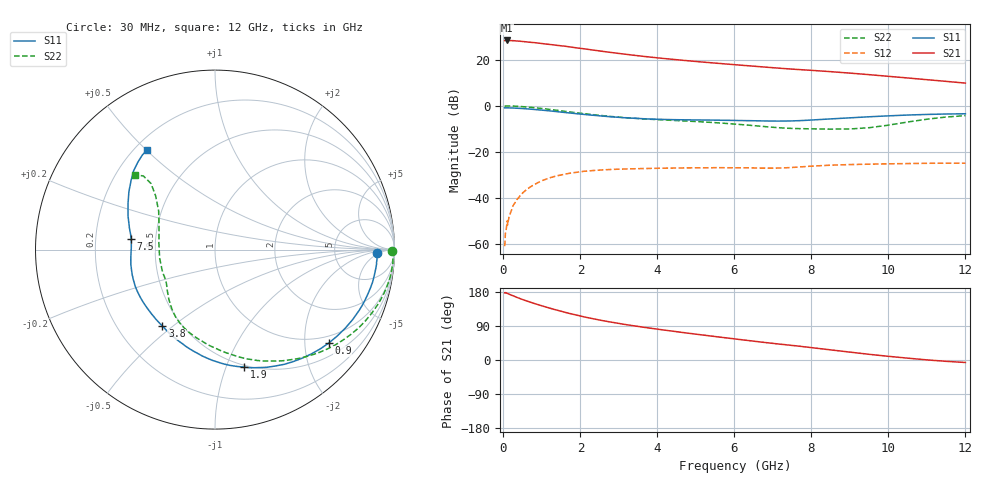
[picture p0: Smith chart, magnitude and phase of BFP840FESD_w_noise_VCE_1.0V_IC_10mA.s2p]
! Infineon Technologies  Discrete & RF Semiconductors
! BFP840FESD
! VCE =  1.0 V,  IC =  10 mA
! Common Emitter S-Parameters:  May 2012
# GHz  S  MA  R  50
!  f  S11  S21  S12  S22
! GHz  MAG  ANG  MAG  ANG  MAG  ANG  MAG  ANG
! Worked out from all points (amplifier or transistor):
!   103 points, 30 MHz to 12 GHz, reference 50 ohm
!   highest |S21| = 28.4 dB at 80 MHz (marker M1)
!   |S21| within 3 dB of that: start of sweep to 1.807 GHz
!   unconditionally stable (mu >= 1): 6.44 GHz to end of sweep
!   at 400 MHz: K = 0.08, MSG = 33.9 dB, |S12| = -39.7 dB
!   at 3.7 GHz: K = 0.54, MSG = 24.3 dB, |S12| = -27.2 dB
!   at 12 GHz: K = 1.20, MAG = 14.7 dB, |S12| = -24.9 dB
!   lowest NFmin = 0.66 dB at 450 MHz
!   S11 on the Smith chart (normalised r, x): 30 MHz: 19, -4; 900 MHz: 0.81, -2.56; 1.9 GHz: 0.48, -1.16; 3.8 GHz: 0.40, -0.46; 7.5 GHz: 0.36, +0.05; 12 GHz: 0.25, +0.50
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0.03  0.9055 -1.3  26.01 177.2  0.0009 96.1  0.9851 -0.3
0.04  0.9049 -1.8  26.06 176.8  0.0011 104.1  0.9875 -0.7
0.05  0.9043 -2.4  26.19 177.8  0.0017 76.1  0.9908 -1.3
0.08  0.9037 -3.7  26.22 176.6  0.0024 92.5  0.9936 -2.5
0.25  0.8966 -11.6  25.9 169.4  0.0068 83.3  0.9872 -9.3
0.45  0.8777 -20.5  25.14 161.3  0.0117 76.5  0.9651 -16.6
0.7  0.8476 -31.1  23.91 152.5  0.0174 70.3  0.9276 -25.3
0.9  0.82 -39.5  23.02 146.0  0.0216 65.4  0.8927 -31.9
1.3  0.761 -55.1  21.01 134.0  0.0289 56.1  0.8172 -44.4
1.6  0.7163 -66.3  19.68 125.8  0.033 50.1  0.7602 -53.2
1.9  0.6744 -76.2  18.11 118.5  0.0361 44.5  0.7067 -61.5
2.1  0.6503 -82.7  17.24 113.7  0.038 41.3  0.6761 -66.6
2.8  0.5785 -101.9  14.38 99.9  0.0416 32.8  0.5867 -82.0
3.2  0.5483 -111.6  13.08 93.1  0.0426 29.4  0.5508 -89.4
3.8  0.5172 -124.5  11.45 84.2  0.0438 25.8  0.5116 -99.1
4.1  0.5086 -130.5  10.79 80.0  0.0443 24.4  0.4969 -103.4
5.1  0.4928 -148.7  9.02 66.9  0.0452 21.1  0.4514 -116.3
6.1  0.48 -164.8  7.705 54.5  0.0453 19.2  0.3962 -128.7
7.5  0.4708 172.9  6.262 38.4  0.046 23.2  0.3233 -148.7
8.5  0.5202 158.7  5.514 26.7  0.0515 22.6  0.3121 -171.3
10.5  0.6312 135.9  4.021 4.9  0.0559 18.8  0.4454 137.9
12  0.6726 124.3  3.112 -6.6  0.0568 18.5  0.6116 136.9
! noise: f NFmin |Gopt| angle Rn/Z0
0.45  0.66  0.31  5  0.14
0.9  0.68  0.3  11  0.15
1.5  0.7  0.28  16  0.15
1.9  0.7  0.25  27  0.15
2.4  0.71  0.23  35  0.15
3.5  0.73  0.23  57  0.14
5.5  0.79  0.15  102  0.11
8  0.91  0.13  168  0.12
10  1.04  0.24  -135  0.12
12  1.26  0.4  -115  0.14
